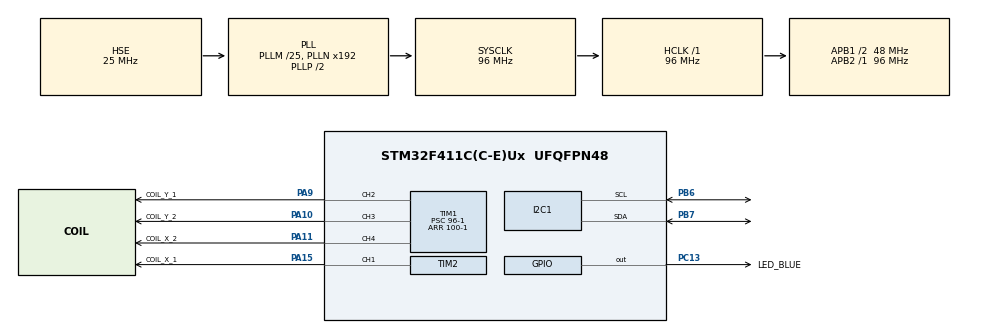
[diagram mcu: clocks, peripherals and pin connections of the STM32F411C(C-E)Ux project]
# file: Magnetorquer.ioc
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I2C1.I2C_Mode=I2C_Standard
Mcu.Family=STM32F4
Mcu.Name=STM32F411C(C-E)Ux
Mcu.Package=UFQFPN48
NVIC.PriorityGroup=NVIC_PRIORITYGROUP_4
PA10.GPIO_Label=COIL_Y_2
PA10.Signal=S_TIM1_CH3
PA11.GPIO_Label=COIL_X_2
PA11.Signal=S_TIM1_CH4
PA15.GPIO_Label=COIL_X_1
PA15.Signal=S_TIM2_CH1_ETR
PA9.GPIO_Label=COIL_Y_1
PA9.Signal=S_TIM1_CH2
PB6.Mode=I2C
PB6.Signal=I2C1_SCL
PB7.Mode=I2C
PB7.Signal=I2C1_SDA
PC13-ANTI_TAMP.GPIO_Label=LED_BLUE
PC13-ANTI_TAMP.PinState=GPIO_PIN_SET
PC13-ANTI_TAMP.Signal=GPIO_Output
PH0\ -\ OSC_IN.Mode=HSE-External-Oscillator
PH0\ -\ OSC_IN.Signal=RCC_OSC_IN
PH1\ -\ OSC_OUT.Mode=HSE-External-Oscillator
PH1\ -\ OSC_OUT.Signal=RCC_OSC_OUT
ProjectManager.HeapSize=0x200
ProjectManager.StackSize=0x400
ProjectManager.TargetToolchain=STM32CubeIDE
RCC.48MHZClocksFreq_Value=48000000
RCC.AHBFreq_Value=96000000
RCC.APB1CLKDivider=RCC_HCLK_DIV2
RCC.APB1Freq_Value=48000000
RCC.APB1TimFreq_Value=96000000
RCC.APB2Freq_Value=96000000
RCC.APB2TimFreq_Value=96000000
RCC.CortexFreq_Value=96000000
RCC.HCLKFreq_Value=96000000
RCC.HSE_VALUE=25000000
RCC.HSI_VALUE=16000000
RCC.LSE_VALUE=32768
RCC.PLLM=25
RCC.PLLSourceVirtual=RCC_PLLSOURCE_HSE
RCC.SYSCLKFreq_VALUE=96000000
RCC.SYSCLKSource=RCC_SYSCLKSOURCE_PLLCLK
RCC.VCOOutputFreq_Value=192000000
SH.S_TIM1_CH2.0=TIM1_CH2,PWM Generation2 CH2
SH.S_TIM1_CH3.0=TIM1_CH3,PWM Generation3 CH3
SH.S_TIM1_CH4.0=TIM1_CH4,PWM Generation4 CH4
SH.S_TIM2_CH1_ETR.0=TIM2_CH1,PWM Generation1 CH1
TIM1.AutoReloadPreload=TIM_AUTORELOAD_PRELOAD_ENABLE
TIM1.Channel-PWM\ Generation2\ CH2=TIM_CHANNEL_2
TIM1.Channel-PWM\ Generation3\ CH3=TIM_CHANNEL_3
TIM1.Channel-PWM\ Generation4\ CH4=TIM_CHANNEL_4
TIM1.Period=100-1
TIM1.Prescaler=96-1
TIM2.AutoReloadPreload=TIM_AUTORELOAD_PRELOAD_ENABLE
TIM2.Channel-PWM\ Generation1\ CH1=TIM_CHANNEL_1
TIM2.Period=100-1
TIM2.Prescaler=96-1
VP_TIM1_VS_ClockSourceINT.Mode=Internal
VP_TIM2_VS_ClockSourceINT.Mode=Internal
board=custom

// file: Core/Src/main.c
/* USER CODE BEGIN Header */
/**
  ******************************************************************************
  * @file           : main.c
  * @brief          : Main program body
  ******************************************************************************
  * @attention
  *
  * Copyright (c) 2025 STMicroelectronics.
  * All rights reserved.
  *
  * This software is licensed under terms that can be found in the LICENSE file
  * in the root directory of this software component.
  * If no LICENSE file comes with this software, it is provided AS-IS.
  *
  ******************************************************************************
  */
/* USER CODE END Header */
#include "main.h"
#include "i2c.h"
#include "tim.h"
#include "gpio.h"

/* USER CODE BEGIN Includes */
#include "QMC5883.h"
#include "mpu6050.h"
#include "math.h"
#include <stdlib.h>
/* USER CODE END Includes */

/* USER CODE BEGIN PD */
#define VERSION_STR_LENG  35
#define SAMPLE_FREQ	50
/* Define aliases for timer channels */
#define COIL_Y1 TIM_CHANNEL_2
#define COIL_Y2 TIM_CHANNEL_3
#define COIL_X2 TIM_CHANNEL_4
#define COIL_X1 TIM_CHANNEL_1

#define DEG_TO_RAD 0.017453292519943295769236907685

/* USER CODE END PD */

/* USER CODE BEGIN PV */
MPU6050_t MPU6050;
QMC_t compassStruct;

/* USER CODE END PV */

void SystemClock_Config(void);
/* USER CODE BEGIN PFP */
int _write(int file, char const *buf, int n);
void SetPWMDutyCycle(TIM_HandleTypeDef *htim, uint32_t channel, uint8_t dutyCycle);
void UpdateAllPWMDutyCycles(uint8_t dutyCycle);
void SetCoilAngle(float angle);
/* USER CODE END PFP */

int main(void)
{

  /* MCU Configuration--------------------------------------------------------*/

  /* Reset of all peripherals, Initializes the Flash interface and the Systick. */
  HAL_Init();

  /* Configure the system clock */
  SystemClock_Config();

  /* Initialize all configured peripherals */
  MX_GPIO_Init();
  MX_I2C1_Init();
  MX_TIM1_Init();
  MX_TIM2_Init();
  /* USER CODE BEGIN 2 */
  /* Initialize all PWM channels */
  HAL_TIM_PWM_Start(&htim1, TIM_CHANNEL_2);
  HAL_TIM_PWM_Start(&htim1, TIM_CHANNEL_3);
  HAL_TIM_PWM_Start(&htim1, TIM_CHANNEL_4);
  HAL_TIM_PWM_Start(&htim2, TIM_CHANNEL_1);

  //Set all timers to 0% duty cycle
  UpdateAllPWMDutyCycles(0);

  while(QMC_init(&compassStruct, &hi2c1, 200) == 1);
  while (MPU6050_Init(&hi2c1) == 1);

  // Set LED on if successful init
  HAL_GPIO_WritePin(LED_BLUE_GPIO_Port, LED_BLUE_Pin, 0);

  /* USER CODE END 2 */

  /* Infinite loop */
  /* USER CODE BEGIN WHILE */
  while (1)
  {
	  static float coilAntiAngle = 0.0f;

	  //Deenergize coils
	  UpdateAllPWMDutyCycles(0);

	  HAL_Delay(100);

	  // Read sensor data
	  MPU6050_Read_All(&hi2c1, &MPU6050);
	  QMC_read(&compassStruct);

	  // Tolerance of x degrees
	  if(fabs(compassStruct.compas) > 10.0){

		  //Compute opposite angle to external field, needs to be remapped since the magnetometer 0° and coil 0° are offset
		  // 360 - (External Angle) + 270 -> deg to rad
		  coilAntiAngle = (630 - compassStruct.heading) * DEG_TO_RAD;

		  //Set coil angle
		  SetCoilAngle(coilAntiAngle);
		  HAL_Delay(500);

	  }

    /* USER CODE END WHILE */

  }
}

void SystemClock_Config(void)
{
  RCC_OscInitTypeDef RCC_OscInitStruct = {0};
  RCC_ClkInitTypeDef RCC_ClkInitStruct = {0};

  /** Configure the main internal regulator output voltage
  */
  __HAL_RCC_PWR_CLK_ENABLE();
  __HAL_PWR_VOLTAGESCALING_CONFIG(PWR_REGULATOR_VOLTAGE_SCALE1);

  /** Initializes the RCC Oscillators according to the specified parameters
  * in the RCC_OscInitTypeDef structure.
  */
  RCC_OscInitStruct.OscillatorType = RCC_OSCILLATORTYPE_HSE;
  RCC_OscInitStruct.HSEState = RCC_HSE_ON;
  RCC_OscInitStruct.PLL.PLLState = RCC_PLL_ON;
  RCC_OscInitStruct.PLL.PLLSource = RCC_PLLSOURCE_HSE;
  RCC_OscInitStruct.PLL.PLLM = 25;
  RCC_OscInitStruct.PLL.PLLN = 192;
  RCC_OscInitStruct.PLL.PLLP = RCC_PLLP_DIV2;
  RCC_OscInitStruct.PLL.PLLQ = 4;
  if (HAL_RCC_OscConfig(&RCC_OscInitStruct) != HAL_OK)
  {
    Error_Handler();
  }

  /** Initializes the CPU, AHB and APB buses clocks
  */
  RCC_ClkInitStruct.ClockType = RCC_CLOCKTYPE_HCLK|RCC_CLOCKTYPE_SYSCLK
                              |RCC_CLOCKTYPE_PCLK1|RCC_CLOCKTYPE_PCLK2;
  RCC_ClkInitStruct.SYSCLKSource = RCC_SYSCLKSOURCE_PLLCLK;
  RCC_ClkInitStruct.AHBCLKDivider = RCC_SYSCLK_DIV1;
  RCC_ClkInitStruct.APB1CLKDivider = RCC_HCLK_DIV2;
  RCC_ClkInitStruct.APB2CLKDivider = RCC_HCLK_DIV1;

  if (HAL_RCC_ClockConfig(&RCC_ClkInitStruct, FLASH_LATENCY_3) != HAL_OK)
  {
    Error_Handler();
  }
}

/* USER CODE BEGIN 4 */
int _write(int file, char const *buf, int n)
{
	/* stdout redirection to USB CDC */
	//CDC_Transmit_FS((uint8_t*)(buf), n);
	return n;
}

void SetPWMDutyCycle(TIM_HandleTypeDef *htim, uint32_t channel, uint8_t dutyCycle)
{
    if (dutyCycle > 100) dutyCycle = 100; // Limit duty cycle to 100%
    uint32_t period = __HAL_TIM_GET_AUTORELOAD(htim); // Get the timer period
    uint32_t pulse = (period * dutyCycle) / 100; // Calculate the pulse width
    __HAL_TIM_SET_COMPARE(htim, channel, pulse); // Set the CCR value
}

void UpdateAllPWMDutyCycles(uint8_t dutyCycle)
{
    // Update duty cycle for TIM1 channels
    SetPWMDutyCycle(&htim1, TIM_CHANNEL_2, dutyCycle);
    SetPWMDutyCycle(&htim1, TIM_CHANNEL_3, dutyCycle);
    SetPWMDutyCycle(&htim1, TIM_CHANNEL_4, dutyCycle);

    // Update duty cycle for TIM2 channel
    SetPWMDutyCycle(&htim2, TIM_CHANNEL_1, dutyCycle);
}

void SetCoilAngle(float angle){

	static int8_t x = 0;	 // X Coil component
	static int8_t y = 0;	 // Y Coil component
	static float DutyMax = 100.0f;	//Maximum duty cycle value

	//Calculate X and Y components
	x = (int8_t) floor(DutyMax * cos(angle));
	y = (int8_t) floor(DutyMax * sin(angle));

	//Polarity handling
	if(x < 0){
		SetPWMDutyCycle(&htim2, COIL_X1, 0);
		SetPWMDutyCycle(&htim1, COIL_X2, (uint8_t) abs(x));
	}
	else{
		SetPWMDutyCycle(&htim1, COIL_X2, 0);
		SetPWMDutyCycle(&htim2, COIL_X1, (uint8_t) abs(x));
	}

	if(y < 0){
		SetPWMDutyCycle(&htim1, COIL_Y1, 0);
		SetPWMDutyCycle(&htim1, COIL_Y2, (uint8_t) abs(y));
	}
	else{
		SetPWMDutyCycle(&htim1, COIL_Y2, 0);
		SetPWMDutyCycle(&htim1, COIL_Y1, (uint8_t) abs(y));
	}

}

/* USER CODE END 4 */

void Error_Handler(void)
{
  __disable_irq();
  while (1)
  {
  }
}
